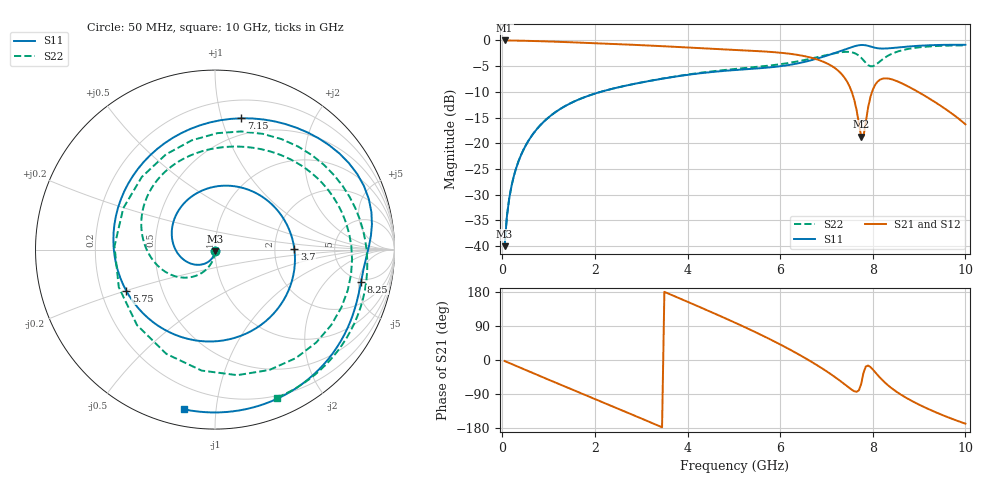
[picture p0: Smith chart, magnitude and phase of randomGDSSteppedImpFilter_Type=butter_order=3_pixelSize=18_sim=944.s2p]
! freq	dB(S11)	phase(S11)	dB(S12)	phase(S12)
!  dB(S21)	phase(S21)	dB(S22)	phase(S22)
!S-par simulation data
#  GHz  S  DB  R 50
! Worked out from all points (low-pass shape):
!   200 points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, 50 MHz to 10 GHz, reference 50 ohm
!   highest |S21| = -0.01 dB at 50 MHz (marker M1); lowest = -18.7 dB at 7.75 GHz (marker M2)
!   |S21| within 3 dB of the highest: start of sweep to 6.497 GHz
!   lowest |S11| = -40.0 dB at 50 MHz (marker M3), VSWR 1.02, Z = 50 - j0.997 ohm
!   |S11| at or under -10 dB: start of sweep to 2.127 GHz
!   |S22| runs from -40.0 to -1.0 dB; largest |S21 - S12| = 0
!   S11 on the Smith chart (normalised r, x): 50 MHz: 1.00, -0.02; 3.7 GHz: 2.58, +0.03; 5.75 GHz: 0.31, -0.20; 7.15 GHz: 0.35, +1.16; 8.25 GHz: 4.60, -5.37; 10 GHz: 0.08, -0.82
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0.05  -40.02 -91.1  -0.01 -2.7  -0.01 -2.7  -40.00 -89.3
0.2  -28.27 -103.8  -0.02 -10.5  -0.02 -10.5  -28.24 -97.1
0.5  -20.53 -125.1  -0.07 -26.1  -0.07 -26.1  -20.52 -108.3
1.75  -11.13 146.8  -0.46 -90.3  -0.46 -90.3  -11.13 -149.0
2.65  -8.83 80.0  -0.79 -136.2  -0.79 -136.2  -8.83 -173.8
3.4  -7.53 23.1  -1.10 -174.9  -1.10 -174.9  -7.51 166.0
3.7  -7.09 0.6  -1.24 169.4  -1.24 169.4  -7.06 157.4
4.3  -6.36 -43.8  -1.52 137.8  -1.52 137.8  -6.27 139.1
5.05  -5.75 -99.3  -1.86 97.2  -1.86 97.2  -5.53 113.8
5.75  -5.27 -155.0  -2.21 56.6  -2.21 56.6  -4.91 88.0
6.25  -4.69 161.3  -2.65 24.9  -2.65 24.9  -4.28 67.3
6.7  -3.78 119.8  -3.44 -6.5  -3.44 -6.5  -3.47 44.4
7.15  -2.54 78.6  -5.18 -42.1  -5.18 -42.1  -2.55 11.5
7.5  -1.44 47.1  -8.98 -74.3  -8.98 -74.3  -2.25 -33.0
7.75  -0.89 23.1  -18.72 -63.1  -18.72 -63.1  -3.37 -96.3
7.95  -1.19 5.1  -10.99 -18.6  -10.99 -18.6  -5.03 178.1
8.1  -1.51 -4.4  -8.05 -39.1  -8.05 -39.1  -4.49 117.4
8.25  -1.58 -12.4  -7.38 -58.2  -7.38 -58.2  -3.42 77.5
8.35  -1.54 -17.6  -7.44 -68.9  -7.44 -68.9  -2.87 58.9
8.65  -1.28 -33.5  -8.44 -94.6  -8.44 -94.6  -1.88 21.3
9  -1.04 -51.8  -10.13 -117.8  -10.13 -117.8  -1.35 -7.9
10  -0.85 -100.9  -16.32 -168.1  -16.32 -168.1  -0.97 -67.2
